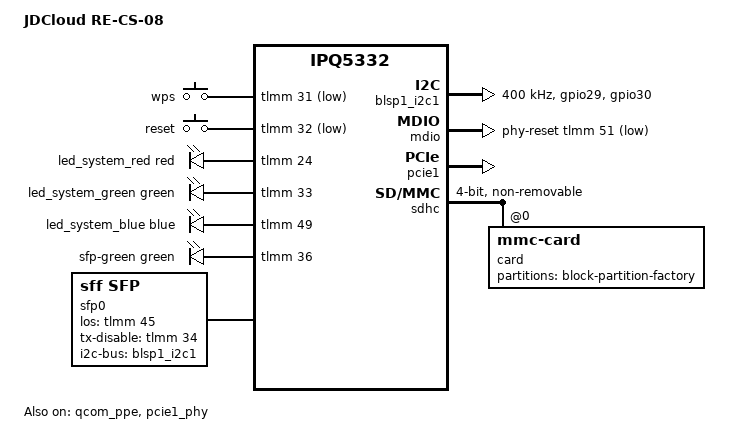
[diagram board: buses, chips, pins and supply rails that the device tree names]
// SPDX-License-Identifier: (GPL-2.0+ OR BSD-3-Clause)

/dts-v1/;

#include "ipq5332-common.dtsi"
#include "ipq5332-common-qca8386.dtsi"

/ {
	model = "JDCloud RE-CS-08";
	compatible = "jdcloud,re-cs-08", "qcom,ipq5332";

	aliases {
		led-boot = &led_system_blue;
		led-failsafe = &led_system_red;
		led-running = &led_system_green;
		led-upgrade = &led_system_red;
	};

	keys {
		compatible = "gpio-keys";
		pinctrl-0 = <&button_pins>;
		pinctrl-names = "default";

		button-wps {
			label = "wps";
			gpios = <&tlmm 31 GPIO_ACTIVE_LOW>;
			linux,code = <KEY_WPS_BUTTON>;
			debounce-interval = <60>;
		};

		button-reset {
			label = "reset";
			gpios = <&tlmm 32 GPIO_ACTIVE_LOW>;
			linux,code = <KEY_RESTART>;
			debounce-interval = <60>;
		};
	};

	leds {
		compatible = "gpio-leds";
		pinctrl-0 = <&led_pins>;
		pinctrl-names = "default";

		led_system_red: system-red {
			color = <LED_COLOR_ID_RED>;
			function = LED_FUNCTION_STATUS;
			gpios = <&tlmm 24 GPIO_ACTIVE_HIGH>;
			default-state = "off";
		};

		led_system_green: system-green {
			color = <LED_COLOR_ID_GREEN>;
			function = LED_FUNCTION_STATUS;
			gpios = <&tlmm 33 GPIO_ACTIVE_HIGH>;
			default-state = "off";
		};

		led_system_blue: system-blue {
			color = <LED_COLOR_ID_BLUE>;
			function = LED_FUNCTION_STATUS;
			gpios = <&tlmm 49 GPIO_ACTIVE_HIGH>;
			default-state = "off";
		};

		sfp-green {
			color = <LED_COLOR_ID_GREEN>;
			function = LED_FUNCTION_WAN;
			gpios = <&tlmm 36 GPIO_ACTIVE_HIGH>;
			default-state = "off";
		};
	};

	/* QWRT identifies GPIO45 as RX_LOS and GPIO34 as TX_DISABLE. */
	sfp0: sfp-0 {
		compatible = "sff,sfp";
		i2c-bus = <&blsp1_i2c1>;
		pinctrl-0 = <&sfp_pins>;
		pinctrl-names = "default";
		los-gpios = <&tlmm 45 GPIO_ACTIVE_HIGH>;
		tx-disable-gpios = <&tlmm 34 GPIO_ACTIVE_HIGH>;
	};
};

&blsp1_i2c1 {
	clock-frequency = <400000>;
	status = "okay";

	pinctrl-0 = <&i2c1_pins>;
	pinctrl-names = "default";
};

&q6_region {
	reg = <0x0 0x4a900000 0x0 0x800000>;
};

&ref_48mhz_clk {
	clock-div = <1>;
	clock-mult = <2>;
};

&xo_clk {
	clock-frequency = <24000000>;
};

&mdio {
	status = "okay";
	phy-reset-gpios = <&tlmm 51 GPIO_ACTIVE_LOW>;
};

&qca8386 {
	ports {
		port@1 {
			label = "wan";
			nvmem-cells = <&wan_macaddr>;
			nvmem-cell-names = "mac-address";
		};

		port@2 {
			label = "lan1";
		};

		port@3 {
			label = "lan2";
		};

		port@4 {
			label = "lan3";
		};
	};
};

&qcom_ppe {
	status = "okay";

	ethernet-ports {
		#address-cells = <1>;
		#size-cells = <0>;

		ppe_sfp: port@2 {
			reg = <2>;
			label = "sfp";
			/* Match the factory SFP+ mode; phylink selects the module's
			 * 1000BASE-X, 2500BASE-X or 10GBASE-R interface on insertion.
			 */
			phy-mode = "10gbase-r";
			managed = "in-band-status";
			sfp = <&sfp0>;
			pcs-handle = <&pcs1_ch0>;
			nvmem-cells = <&lan_macaddr 1>;
			nvmem-cell-names = "mac-address";
			clocks = <&nsscc NSS_CC_PORT2_MAC_CLK>,
				 <&nsscc NSS_CC_PORT2_RX_CLK>,
				 <&nsscc NSS_CC_PORT2_TX_CLK>;
			clock-names = "mac",
				      "rx",
				      "tx";
			resets = <&nsscc NSS_CC_PORT2_MAC_CLK_ARES>,
				 <&nsscc NSS_CC_PORT2_RX_CLK_ARES>,
				 <&nsscc NSS_CC_PORT2_TX_CLK_ARES>;
			reset-names = "mac",
				      "rx",
				      "tx";
		};
	};
};

&pcie1 {
	status = "okay";

	pinctrl-0 = <&pcie1_pins>;
	pinctrl-names = "default";

	/delete-property/ phys;
	/delete-property/ phy-names;

	pcie@0 {
		phys = <&pcie1_phy>;
		reset-gpios = <&tlmm 47 GPIO_ACTIVE_LOW>;
		wake-gpios = <&tlmm 48 GPIO_ACTIVE_LOW>;
	};
};

&pcie1_phy {
	status = "okay";
};

&ppe_qca8386 {
	nvmem-cells = <&lan_macaddr 0>;
	nvmem-cell-names = "mac-address";
};

&sdhc {
	status = "okay";

	#address-cells = <1>;
	#size-cells = <0>;
	bus-width = <4>;
	max-frequency = <192000000>;
	mmc-ddr-1_8v;
	mmc-hs200-1_8v;
	non-removable;
	pinctrl-0 = <&sdc_pins>;
	pinctrl-names = "default";

	card@0 {
		compatible = "mmc-card";
		reg = <0>;

		block {
			compatible = "block-device";

			partitions {
				block-partition-factory {
					partname = "factory";

					nvmem-layout {
						compatible = "fixed-layout";
						#address-cells = <1>;
						#size-cells = <1>;

						lan_macaddr: macaddr@0 {
							compatible = "mac-base";
							reg = <0x0 0x6>;
							#nvmem-cell-cells = <1>;
						};

						wan_macaddr: macaddr@6 {
							reg = <0x6 0x6>;
						};
					};
				};
			};
		};
	};
};

&tlmm {
	i2c1_pins: i2c1-state {
		pins = "gpio29", "gpio30";
		function = "blsp1_i2c0";
		drive-strength = <16>;
		bias-pull-up;
	};

	sfp_pins: sfp-default-state {
		rx-pins {
			pins = "gpio45";
			function = "gpio";
			bias-disable;
		};

		tx-disable-pins {
			pins = "gpio34";
			function = "gpio";
			drive-strength = <8>;
			bias-pull-down;
			output-low;
		};
	};

	button_pins: button-pins {
		pins = "gpio31", "gpio32";
		function = "gpio";
		drive-strength = <8>;
		bias-pull-up;
	};

	led_pins: led-pins {
		pins = "gpio24", "gpio33", "gpio36", "gpio49";
		function = "gpio";
		drive-strength = <8>;
		bias-pull-down;
	};
};
